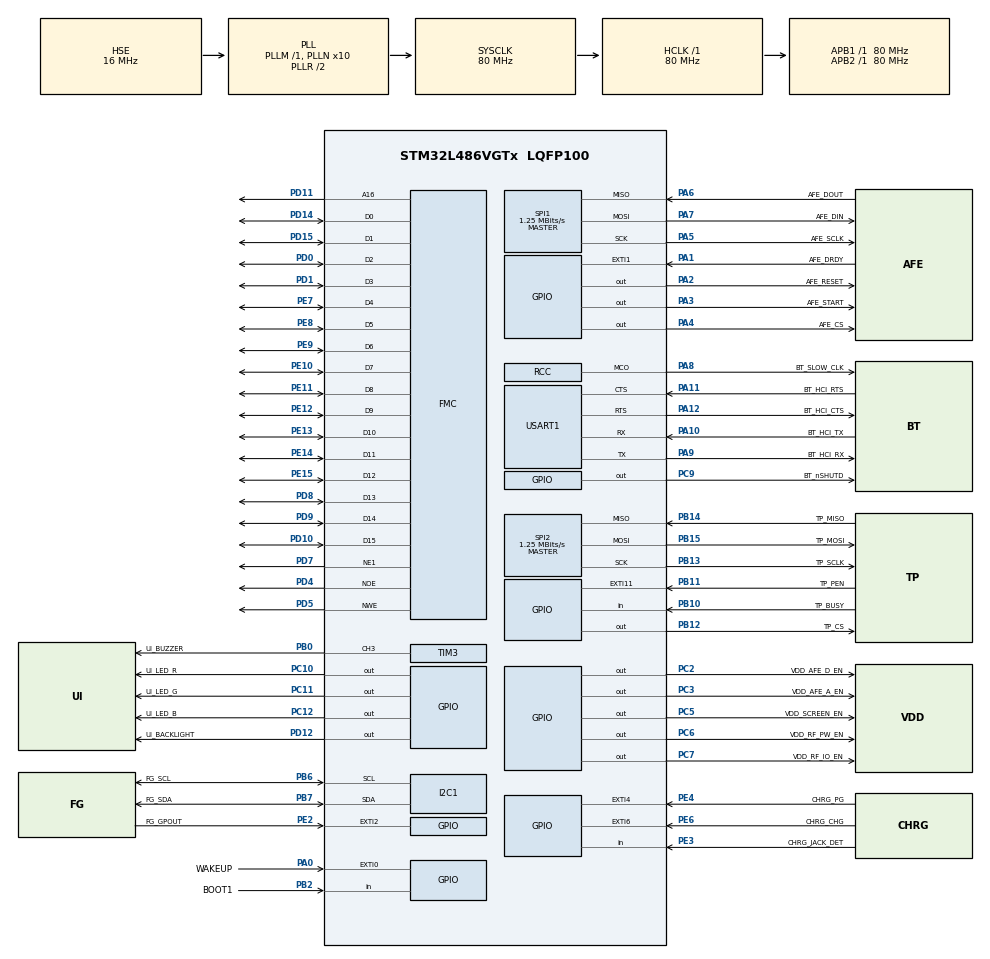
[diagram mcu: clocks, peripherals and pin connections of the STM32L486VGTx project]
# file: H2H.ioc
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Dma.I2C1_RX.1.Direction=DMA_PERIPH_TO_MEMORY
Dma.I2C1_RX.1.Instance=DMA1_Channel7
Dma.I2C1_RX.1.MemDataAlignment=DMA_MDATAALIGN_BYTE
Dma.I2C1_RX.1.MemInc=DMA_MINC_ENABLE
Dma.I2C1_RX.1.Mode=DMA_NORMAL
Dma.I2C1_RX.1.PeriphDataAlignment=DMA_PDATAALIGN_BYTE
Dma.I2C1_RX.1.PeriphInc=DMA_PINC_DISABLE
Dma.I2C1_RX.1.Priority=DMA_PRIORITY_LOW
Dma.I2C1_TX.0.Direction=DMA_MEMORY_TO_PERIPH
Dma.I2C1_TX.0.Instance=DMA1_Channel6
Dma.I2C1_TX.0.MemDataAlignment=DMA_MDATAALIGN_BYTE
Dma.I2C1_TX.0.MemInc=DMA_MINC_ENABLE
Dma.I2C1_TX.0.Mode=DMA_NORMAL
Dma.I2C1_TX.0.PeriphDataAlignment=DMA_PDATAALIGN_BYTE
Dma.I2C1_TX.0.PeriphInc=DMA_PINC_DISABLE
Dma.I2C1_TX.0.Priority=DMA_PRIORITY_LOW
Dma.MEMTOMEM.8.Direction=DMA_MEMORY_TO_MEMORY
Dma.MEMTOMEM.8.Instance=DMA2_Channel1
Dma.MEMTOMEM.8.MemDataAlignment=DMA_MDATAALIGN_BYTE
Dma.MEMTOMEM.8.MemInc=DMA_MINC_DISABLE
Dma.MEMTOMEM.8.Mode=DMA_NORMAL
Dma.MEMTOMEM.8.PeriphDataAlignment=DMA_PDATAALIGN_BYTE
Dma.MEMTOMEM.8.PeriphInc=DMA_PINC_DISABLE
Dma.MEMTOMEM.8.Priority=DMA_PRIORITY_LOW
Dma.Request0=I2C1_TX
Dma.Request1=I2C1_RX
Dma.Request2=SPI1_TX
Dma.Request3=SPI1_RX
Dma.Request4=SPI2_TX
Dma.Request5=SPI2_RX
Dma.Request6=USART1_TX
Dma.Request7=USART1_RX
Dma.Request8=MEMTOMEM
Dma.SPI1_RX.3.Direction=DMA_PERIPH_TO_MEMORY
Dma.SPI1_RX.3.Instance=DMA1_Channel2
Dma.SPI1_RX.3.MemDataAlignment=DMA_MDATAALIGN_BYTE
Dma.SPI1_RX.3.MemInc=DMA_MINC_ENABLE
Dma.SPI1_RX.3.Mode=DMA_NORMAL
Dma.SPI1_RX.3.PeriphDataAlignment=DMA_PDATAALIGN_BYTE
Dma.SPI1_RX.3.PeriphInc=DMA_PINC_DISABLE
Dma.SPI1_RX.3.Priority=DMA_PRIORITY_VERY_HIGH
Dma.SPI1_TX.2.Direction=DMA_MEMORY_TO_PERIPH
Dma.SPI1_TX.2.Instance=DMA1_Channel3
Dma.SPI1_TX.2.MemDataAlignment=DMA_MDATAALIGN_BYTE
Dma.SPI1_TX.2.MemInc=DMA_MINC_ENABLE
Dma.SPI1_TX.2.Mode=DMA_NORMAL
Dma.SPI1_TX.2.PeriphDataAlignment=DMA_PDATAALIGN_BYTE
Dma.SPI1_TX.2.PeriphInc=DMA_PINC_DISABLE
Dma.SPI1_TX.2.Priority=DMA_PRIORITY_VERY_HIGH
Dma.SPI2_RX.5.Direction=DMA_PERIPH_TO_MEMORY
Dma.SPI2_RX.5.Instance=DMA1_Channel4
Dma.SPI2_RX.5.MemDataAlignment=DMA_MDATAALIGN_BYTE
Dma.SPI2_RX.5.MemInc=DMA_MINC_ENABLE
Dma.SPI2_RX.5.Mode=DMA_NORMAL
Dma.SPI2_RX.5.PeriphDataAlignment=DMA_PDATAALIGN_BYTE
Dma.SPI2_RX.5.PeriphInc=DMA_PINC_DISABLE
Dma.SPI2_RX.5.Priority=DMA_PRIORITY_MEDIUM
Dma.SPI2_TX.4.Direction=DMA_MEMORY_TO_PERIPH
Dma.SPI2_TX.4.Instance=DMA1_Channel5
Dma.SPI2_TX.4.MemDataAlignment=DMA_MDATAALIGN_BYTE
Dma.SPI2_TX.4.MemInc=DMA_MINC_ENABLE
Dma.SPI2_TX.4.Mode=DMA_NORMAL
Dma.SPI2_TX.4.PeriphDataAlignment=DMA_PDATAALIGN_BYTE
Dma.SPI2_TX.4.PeriphInc=DMA_PINC_DISABLE
Dma.SPI2_TX.4.Priority=DMA_PRIORITY_MEDIUM
Dma.USART1_RX.7.Direction=DMA_PERIPH_TO_MEMORY
Dma.USART1_RX.7.Instance=DMA2_Channel7
Dma.USART1_RX.7.MemDataAlignment=DMA_MDATAALIGN_BYTE
Dma.USART1_RX.7.MemInc=DMA_MINC_ENABLE
Dma.USART1_RX.7.Mode=DMA_NORMAL
Dma.USART1_RX.7.PeriphDataAlignment=DMA_PDATAALIGN_BYTE
Dma.USART1_RX.7.PeriphInc=DMA_PINC_DISABLE
Dma.USART1_RX.7.Priority=DMA_PRIORITY_HIGH
Dma.USART1_TX.6.Direction=DMA_MEMORY_TO_PERIPH
Dma.USART1_TX.6.Instance=DMA2_Channel6
Dma.USART1_TX.6.MemDataAlignment=DMA_MDATAALIGN_BYTE
Dma.USART1_TX.6.MemInc=DMA_MINC_ENABLE
Dma.USART1_TX.6.Mode=DMA_NORMAL
Dma.USART1_TX.6.PeriphDataAlignment=DMA_PDATAALIGN_BYTE
Dma.USART1_TX.6.PeriphInc=DMA_PINC_DISABLE
Dma.USART1_TX.6.Priority=DMA_PRIORITY_HIGH
FMC.AddressSetupTime1=5
FMC.BusTurnAroundDuration1=5
FMC.DataSetupTime1=5
FREERTOS.Tasks01=defaultTask,0,128,StartDefaultTask,Default
FREERTOS.configCHECK_FOR_STACK_OVERFLOW=2
FREERTOS.configMAX_TASK_NAME_LEN=24
FREERTOS.configMINIMAL_STACK_SIZE=64
FREERTOS.configTOTAL_HEAP_SIZE=64000
FREERTOS.configUSE_COUNTING_SEMAPHORES=1
FREERTOS.configUSE_RECURSIVE_MUTEXES=1
FREERTOS.configUSE_TICKLESS_IDLE=1
I2C1.Analog_Filter=I2C_ANALOGFILTER_DISABLE
I2C1.Speed=50
I2C1.Timing=0x30408EFF
Mcu.Family=STM32L4
Mcu.Name=STM32L486VGTx
Mcu.Package=LQFP100
NVIC.DMA1_Channel2_IRQn=true\:6\:0\:true\:false\:true\:true
NVIC.DMA1_Channel3_IRQn=true\:6\:0\:true\:false\:true\:true
NVIC.DMA1_Channel4_IRQn=true\:8\:0\:true\:false\:true\:true
NVIC.DMA1_Channel5_IRQn=true\:8\:0\:true\:false\:true\:true
NVIC.DMA1_Channel6_IRQn=true\:9\:0\:true\:false\:true\:true
NVIC.DMA1_Channel7_IRQn=true\:9\:0\:true\:false\:true\:true
NVIC.DMA2_Channel6_IRQn=true\:7\:0\:true\:false\:true\:true
NVIC.DMA2_Channel7_IRQn=true\:7\:0\:true\:false\:true\:true
NVIC.EXTI0_IRQn=true\:5\:0\:false\:false\:true\:true
NVIC.EXTI15_10_IRQn=true\:7\:0\:true\:false\:true\:true
NVIC.EXTI1_IRQn=true\:6\:0\:true\:false\:true\:true
NVIC.EXTI2_IRQn=true\:8\:0\:true\:false\:true\:true
NVIC.EXTI4_IRQn=true\:8\:0\:true\:false\:true\:true
NVIC.EXTI9_5_IRQn=true\:5\:0\:true\:false\:true\:true
NVIC.PriorityGroup=NVIC_PRIORITYGROUP_4
NVIC.RTC_Alarm_IRQn=true\:10\:0\:true\:false\:true\:true
NVIC.TIM4_IRQn=true\:10\:0\:true\:false\:true\:true
PA0.GPIO_Label=WAKEUP
PA0.Signal=GPXTI0
PA1.GPIO_Label=AFE_DRDY
PA1.GPIO_ModeDefaultEXTI=GPIO_MODE_IT_FALLING
PA1.Signal=GPXTI1
PA10.GPIO_Label=BT_HCI_TX
PA10.Mode=Asynchronous
PA10.Signal=USART1_RX
PA11.GPIO_Label=BT_HCI_RTS
PA11.Mode=CTS_RTS
PA11.Signal=USART1_CTS
PA12.GPIO_Label=BT_HCI_CTS
PA12.Mode=CTS_RTS
PA12.Signal=USART1_RTS
PA13.Mode=Serial_Wire
PA13.Signal=SYS_JTMS-SWDIO
PA14.Mode=Serial_Wire
PA14.Signal=SYS_JTCK-SWCLK
PA2.GPIO_Label=AFE_RESET
PA2.PinState=GPIO_PIN_RESET
PA2.Signal=GPIO_Output
PA3.GPIO_Label=AFE_START
PA3.Signal=GPIO_Output
PA4.GPIO_Label=AFE_CS
PA4.PinState=GPIO_PIN_RESET
PA4.Signal=GPIO_Output
PA5.GPIO_Label=AFE_SCLK
PA5.Mode=Full_Duplex_Master
PA5.Signal=SPI1_SCK
PA6.GPIO_Label=AFE_DOUT
PA6.Mode=Full_Duplex_Master
PA6.Signal=SPI1_MISO
PA7.GPIO_Label=AFE_DIN
PA7.Mode=Full_Duplex_Master
PA7.Signal=SPI1_MOSI
PA8.GPIO_Label=BT_SLOW_CLK
PA8.Mode=Clock-out
PA8.Signal=RCC_MCO
PA9.GPIO_Label=BT_HCI_RX
PA9.Mode=Asynchronous
PA9.Signal=USART1_TX
PB0.GPIO_Label=UI_BUZZER
PB0.Signal=S_TIM3_CH3
PB10.GPIO_Label=TP_BUSY
PB10.Signal=GPIO_Input
PB11.GPIO_Label=TP_PEN
PB11.GPIO_ModeDefaultEXTI=GPIO_MODE_IT_FALLING
PB11.Signal=GPXTI11
PB12.GPIO_Label=TP_CS
PB12.PinState=GPIO_PIN_RESET
PB12.Signal=GPIO_Output
PB13.GPIO_Label=TP_SCLK
PB13.Mode=Full_Duplex_Master
PB13.Signal=SPI2_SCK
PB14.GPIO_Label=TP_MISO
PB14.Mode=Full_Duplex_Master
PB14.Signal=SPI2_MISO
PB15.GPIO_Label=TP_MOSI
PB15.Mode=Full_Duplex_Master
PB15.Signal=SPI2_MOSI
PB2.GPIO_Label=BOOT1
PB2.Signal=GPIO_Input
PB6.GPIO_Label=FG_SCL
PB6.Mode=I2C
PB6.Signal=I2C1_SCL
PB7.GPIO_Label=FG_SDA
PB7.Mode=I2C
PB7.Signal=I2C1_SDA
PC10.GPIO_Label=UI_LED_R
PC10.Signal=GPIO_Output
PC11.GPIO_Label=UI_LED_G
PC11.Signal=GPIO_Output
PC12.GPIO_Label=UI_LED_B
PC12.Signal=GPIO_Output
PC14/OSC32_IN.GPIO_Label=OSC32_IN
PC14/OSC32_IN.Mode=LSE-External-Oscillator
PC14/OSC32_IN.Signal=RCC_OSC32_IN
PC15/OSC32_OUT.GPIO_Label=OSC32_OUT
PC15/OSC32_OUT.Mode=LSE-External-Oscillator
PC15/OSC32_OUT.Signal=RCC_OSC32_OUT
PC2.GPIO_Label=VDD_AFE_D_EN
PC2.Signal=GPIO_Output
PC3.GPIO_Label=VDD_AFE_A_EN
PC3.Signal=GPIO_Output
PC5.GPIO_Label=VDD_SCREEN_EN
PC5.Signal=GPIO_Output
PC6.GPIO_Label=VDD_RF_PW_EN
PC6.Signal=GPIO_Output
PC7.GPIO_Label=VDD_RF_IO_EN
PC7.Signal=GPIO_Output
PC9.GPIO_Label=BT_nSHUTD
PC9.Signal=GPIO_Output
PD0.Mode=16b-d1
PD0.Signal=FMC_D2
PD1.Mode=16b-d1
PD1.Signal=FMC_D3
PD10.Mode=16b-d1
PD10.Signal=FMC_D15
PD11.Mode=A16_1
PD11.Signal=FMC_A16
PD12.GPIO_Label=UI_BACKLIGHT
PD12.Signal=GPIO_Output
PD14.Mode=16b-d1
PD14.Signal=FMC_D0
PD15.Mode=16b-d1
PD15.Signal=FMC_D1
PD4.Mode=Lcd1
PD4.Signal=FMC_NOE
PD5.Mode=Lcd1
PD5.Signal=FMC_NWE
PD7.Mode=NorPsramChipSelect1_1
PD7.Signal=FMC_NE1
PD8.Mode=16b-d1
PD8.Signal=FMC_D13
PD9.Mode=16b-d1
PD9.Signal=FMC_D14
PE10.Mode=16b-d1
PE10.Signal=FMC_D7
PE11.Mode=16b-d1
PE11.Signal=FMC_D8
PE12.Mode=16b-d1
PE12.Signal=FMC_D9
PE13.Mode=16b-d1
PE13.Signal=FMC_D10
PE14.Mode=16b-d1
PE14.Signal=FMC_D11
PE15.Mode=16b-d1
PE15.Signal=FMC_D12
PE2.GPIO_Label=FG_GPOUT
PE2.GPIO_ModeDefaultEXTI=GPIO_MODE_IT_FALLING
PE2.Signal=GPXTI2
PE3.GPIO_Label=CHRG_JACK_DET
PE3.Signal=GPIO_Input
PE4.GPIO_Label=CHRG_PG
PE4.GPIO_ModeDefaultEXTI=GPIO_MODE_IT_RISING_FALLING
PE4.Signal=GPXTI4
PE6.GPIO_Label=CHRG_CHG
PE6.GPIO_ModeDefaultEXTI=GPIO_MODE_IT_RISING_FALLING
PE6.Signal=GPXTI6
PE7.Mode=16b-d1
PE7.Signal=FMC_D4
PE8.Mode=16b-d1
PE8.Signal=FMC_D5
PE9.Mode=16b-d1
PE9.Signal=FMC_D6
PH0/OSC_IN.GPIO_Label=OSC_IN
PH0/OSC_IN.Mode=HSE-External-Oscillator
PH0/OSC_IN.Signal=RCC_OSC_IN
PH1/OSC_OUT.GPIO_Label=OSC_OUT
PH1/OSC_OUT.Mode=HSE-External-Oscillator
PH1/OSC_OUT.Signal=RCC_OSC_OUT
ProjectManager.HeapSize=0x200
ProjectManager.StackSize=0x400
ProjectManager.TargetToolchain=EWARM
RCC.ADCFreq_Value=64000000
RCC.AHBFreq_Value=80000000
RCC.APB1Freq_Value=80000000
RCC.APB1TimFreq_Value=80000000
RCC.APB2Freq_Value=80000000
RCC.APB2TimFreq_Value=80000000
RCC.CortexFreq_Value=80000000
RCC.EnableCSSLSE=true
RCC.EnbaleCSS=true
RCC.HCLKFreq_Value=80000000
RCC.HSE_VALUE=16000000
RCC.HSI_VALUE=16000000
RCC.MSI_VALUE=4000000
RCC.PLLN=10
RCC.PLLSourceVirtual=RCC_PLLSOURCE_HSE
RCC.RCC_MCO1Source=RCC_MCO1SOURCE_LSE
RCC.RTCClockSelection=RCC_RTCCLKSOURCE_LSE
RCC.SYSCLKFreq_VALUE=80000000
RCC.SYSCLKSource=RCC_SYSCLKSOURCE_PLLCLK
RCC.USBFreq_Value=64000000
RCC.VCOOutputFreq_Value=160000000
RTC.AlarmMask-Alarm\ A=RTC_ALARMMASK_ALL
RTC.Format=RTC_FORMAT_BIN
RTC.Year=16
SH.S_TIM3_CH3.0=TIM3_CH3,PWM Generation3 CH3
SPI1.BaudRatePrescaler=SPI_BAUDRATEPRESCALER_64
SPI1.CLKPhase=SPI_PHASE_2EDGE
SPI1.CalculateBaudRate=1.25 MBits/s
SPI1.DataSize=SPI_DATASIZE_8BIT
SPI1.Mode=SPI_MODE_MASTER
SPI2.BaudRatePrescaler=SPI_BAUDRATEPRESCALER_64
SPI2.CalculateBaudRate=1.25 MBits/s
SPI2.DataSize=SPI_DATASIZE_8BIT
SPI2.Mode=SPI_MODE_MASTER
SPI2.NSSPMode=SPI_NSS_PULSE_DISABLE
TIM3.Channel-PWM\ Generation3\ CH3=TIM_CHANNEL_3
TIM3.ClockDivision=TIM_CLOCKDIVISION_DIV2
TIM3.OCFastMode_PWM-PWM\ Generation3\ CH3=TIM_OCFAST_ENABLE
TIM3.Period=4545
TIM3.Prescaler=75
TIM3.Pulse-PWM\ Generation3\ CH3=2273
TIM4.ClockDivision=TIM_CLOCKDIVISION_DIV2
TIM4.Period=1000
TIM4.Prescaler=40000
USART1.WordLength=UART_WORDLENGTH_8B
VP_FREERTOS_VS_ENABLE.Mode=Enabled
VP_RTC_VS_RTC_Alarm_A_Intern.Mode=Alarm A
VP_TIM3_VS_ClockSourceINT.Mode=Internal
VP_TIM4_VS_ClockSourceINT.Mode=Internal
board=H2H

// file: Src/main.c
/**
  ******************************************************************************
  * File Name          : main.c
  * Description        : Main program body
  ******************************************************************************
  *
  * COPYRIGHT(c) 2016 STMicroelectronics
  *
  * Redistribution and use in source and binary forms, with or without modification,
  * are permitted provided that the following conditions are met:
  *   1. Redistributions of source code must retain the above copyright notice,
  *      this list of conditions and the following disclaimer.
  *   2. Redistributions in binary form must reproduce the above copyright notice,
  *      this list of conditions and the following disclaimer in the documentation
  *      and/or other materials provided with the distribution.
  *   3. Neither the name of STMicroelectronics nor the names of its contributors
  *      may be used to endorse or promote products derived from this software
  *      without specific prior written permission.
  *
  * THIS SOFTWARE IS PROVIDED BY THE COPYRIGHT HOLDERS AND CONTRIBUTORS "AS IS"
  * AND ANY EXPRESS OR IMPLIED WARRANTIES, INCLUDING, BUT NOT LIMITED TO, THE
  * IMPLIED WARRANTIES OF MERCHANTABILITY AND FITNESS FOR A PARTICULAR PURPOSE ARE
  * DISCLAIMED. IN NO EVENT SHALL THE COPYRIGHT HOLDER OR CONTRIBUTORS BE LIABLE
  * FOR ANY DIRECT, INDIRECT, INCIDENTAL, SPECIAL, EXEMPLARY, OR CONSEQUENTIAL
  * DAMAGES (INCLUDING, BUT NOT LIMITED TO, PROCUREMENT OF SUBSTITUTE GOODS OR
  * SERVICES; LOSS OF USE, DATA, OR PROFITS; OR BUSINESS INTERRUPTION) HOWEVER
  * CAUSED AND ON ANY THEORY OF LIABILITY, WHETHER IN CONTRACT, STRICT LIABILITY,
  * OR TORT (INCLUDING NEGLIGENCE OR OTHERWISE) ARISING IN ANY WAY OUT OF THE USE
  * OF THIS SOFTWARE, EVEN IF ADVISED OF THE POSSIBILITY OF SUCH DAMAGE.
  *
  ******************************************************************************
  */
#include "stm32l4xx_hal.h"
#include "cmsis_os.h"
#include "dma.h"
#include "i2c.h"
#include "rtc.h"
#include "spi.h"
#include "tim.h"
#include "usart.h"
#include "gpio.h"
#include "fmc.h"

/* USER CODE BEGIN PV */
/* Private variables ---------------------------------------------------------*/

/* USER CODE END PV */

void SystemClock_Config(void);
void Error_Handler(void);
void MX_FREERTOS_Init(void);

/* USER CODE BEGIN PFP */
/* Private function prototypes -----------------------------------------------*/
void wakeup_check(void);
/* USER CODE END PFP */

int main(void)
{

  /* MCU Configuration----------------------------------------------------------*/

  /* Reset of all peripherals, Initializes the Flash interface and the Systick. */
  HAL_Init();

  /* Configure the system clock */
  SystemClock_Config();

  /* Enable wakeup debug and check */
  HAL_DBGMCU_EnableDBGStandbyMode();
  wakeup_check();

  /* Initialize all configured peripherals */
  MX_GPIO_Init();
  MX_DMA_Init();
  MX_FMC_Init();
  MX_I2C1_Init();
  MX_SPI1_Init();
  MX_SPI2_Init();
  MX_TIM3_Init();
  MX_USART1_UART_Init();
  MX_RTC_Init();
  MX_TIM4_Init();

  /* Call init function for freertos objects (in freertos.c) */
  MX_FREERTOS_Init();

  /* Start scheduler */
  osKernelStart();

  /* We should never get here as control is now taken by the scheduler */

  /* Infinite loop */
  while (1)
  {

  }

}

void wakeup_check(void)
{
  /* Checks if the system is resumed from standby */
  if (__HAL_PWR_GET_FLAG(PWR_FLAG_WU))
  {
    GPIO_InitTypeDef GPIO_InitStruct;

    /* Make falling edge sensitive */
    GPIO_InitStruct.Pin = WAKEUP_Pin;
    GPIO_InitStruct.Mode = GPIO_MODE_IT_FALLING;
    GPIO_InitStruct.Pull = GPIO_NOPULL;
    HAL_GPIO_Init(GPIOA, &GPIO_InitStruct);

    /* Wait */
    HAL_Delay(1000);

    /* If a falling edge has occured
     * the press was not long enough
     * to wake up the device
     */
    if (__HAL_GPIO_EXTI_GET_IT(GPIO_PIN_0) == SET)
    {
      /* Clear interrupt flag */
      __HAL_GPIO_EXTI_CLEAR_IT(GPIO_PIN_0);

      /* Enable wakeup pin and go to sleep */
      HAL_PWR_EnableWakeUpPin(PWR_WAKEUP_PIN1);
      __HAL_PWR_CLEAR_FLAG(PWR_FLAG_WU);
      HAL_PWR_EnterSTANDBYMode();
    }
  }
}

/** System Clock Configuration
*/
void SystemClock_Config(void)
{

  RCC_OscInitTypeDef RCC_OscInitStruct;
  RCC_ClkInitTypeDef RCC_ClkInitStruct;
  RCC_PeriphCLKInitTypeDef PeriphClkInit;

  RCC_OscInitStruct.OscillatorType = RCC_OSCILLATORTYPE_HSE|RCC_OSCILLATORTYPE_LSE;
  RCC_OscInitStruct.HSEState = RCC_HSE_ON;
  RCC_OscInitStruct.LSEState = RCC_LSE_ON;
  RCC_OscInitStruct.PLL.PLLState = RCC_PLL_ON;
  RCC_OscInitStruct.PLL.PLLSource = RCC_PLLSOURCE_HSE;
  RCC_OscInitStruct.PLL.PLLM = 1;
  RCC_OscInitStruct.PLL.PLLN = 10;
  RCC_OscInitStruct.PLL.PLLP = RCC_PLLP_DIV7;
  RCC_OscInitStruct.PLL.PLLQ = RCC_PLLQ_DIV2;
  RCC_OscInitStruct.PLL.PLLR = RCC_PLLR_DIV2;
  if (HAL_RCC_OscConfig(&RCC_OscInitStruct) != HAL_OK)
  {
    Error_Handler();
  }

  RCC_ClkInitStruct.ClockType = RCC_CLOCKTYPE_HCLK|RCC_CLOCKTYPE_SYSCLK
                              |RCC_CLOCKTYPE_PCLK1|RCC_CLOCKTYPE_PCLK2;
  RCC_ClkInitStruct.SYSCLKSource = RCC_SYSCLKSOURCE_PLLCLK;
  RCC_ClkInitStruct.AHBCLKDivider = RCC_SYSCLK_DIV1;
  RCC_ClkInitStruct.APB1CLKDivider = RCC_HCLK_DIV1;
  RCC_ClkInitStruct.APB2CLKDivider = RCC_HCLK_DIV1;
  if (HAL_RCC_ClockConfig(&RCC_ClkInitStruct, FLASH_LATENCY_4) != HAL_OK)
  {
    Error_Handler();
  }

  PeriphClkInit.PeriphClockSelection = RCC_PERIPHCLK_RTC|RCC_PERIPHCLK_USART1
                              |RCC_PERIPHCLK_I2C1;
  PeriphClkInit.Usart1ClockSelection = RCC_USART1CLKSOURCE_PCLK2;
  PeriphClkInit.I2c1ClockSelection = RCC_I2C1CLKSOURCE_PCLK1;
  PeriphClkInit.RTCClockSelection = RCC_RTCCLKSOURCE_LSE;
  if (HAL_RCCEx_PeriphCLKConfig(&PeriphClkInit) != HAL_OK)
  {
    Error_Handler();
  }

  HAL_RCC_MCOConfig(RCC_MCO1, RCC_MCO1SOURCE_LSE, RCC_MCODIV_1);

  HAL_RCC_EnableCSS();

  HAL_RCCEx_EnableLSECSS();

  __HAL_RCC_PWR_CLK_ENABLE();

  if (HAL_PWREx_ControlVoltageScaling(PWR_REGULATOR_VOLTAGE_SCALE1) != HAL_OK)
  {
    Error_Handler();
  }

  HAL_SYSTICK_Config(HAL_RCC_GetHCLKFreq()/1000);

  HAL_SYSTICK_CLKSourceConfig(SYSTICK_CLKSOURCE_HCLK);

  /* SysTick_IRQn interrupt configuration */
  HAL_NVIC_SetPriority(SysTick_IRQn, 15, 0);
}

void Error_Handler(void)
{
  while(1)
  {
  }
}

/************************ (C) COPYRIGHT STMicroelectronics *****END OF FILE****/

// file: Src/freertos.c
/**
  ******************************************************************************
  * File Name          : freertos.c
  * Description        : Code for freertos applications
  ******************************************************************************
  *
  * COPYRIGHT(c) 2016 STMicroelectronics
  *
  * Redistribution and use in source and binary forms, with or without modification,
  * are permitted provided that the following conditions are met:
  *   1. Redistributions of source code must retain the above copyright notice,
  *      this list of conditions and the following disclaimer.
  *   2. Redistributions in binary form must reproduce the above copyright notice,
  *      this list of conditions and the following disclaimer in the documentation
  *      and/or other materials provided with the distribution.
  *   3. Neither the name of STMicroelectronics nor the names of its contributors
  *      may be used to endorse or promote products derived from this software
  *      without specific prior written permission.
  *
  * THIS SOFTWARE IS PROVIDED BY THE COPYRIGHT HOLDERS AND CONTRIBUTORS "AS IS"
  * AND ANY EXPRESS OR IMPLIED WARRANTIES, INCLUDING, BUT NOT LIMITED TO, THE
  * IMPLIED WARRANTIES OF MERCHANTABILITY AND FITNESS FOR A PARTICULAR PURPOSE ARE
  * DISCLAIMED. IN NO EVENT SHALL THE COPYRIGHT HOLDER OR CONTRIBUTORS BE LIABLE
  * FOR ANY DIRECT, INDIRECT, INCIDENTAL, SPECIAL, EXEMPLARY, OR CONSEQUENTIAL
  * DAMAGES (INCLUDING, BUT NOT LIMITED TO, PROCUREMENT OF SUBSTITUTE GOODS OR
  * SERVICES; LOSS OF USE, DATA, OR PROFITS; OR BUSINESS INTERRUPTION) HOWEVER
  * CAUSED AND ON ANY THEORY OF LIABILITY, WHETHER IN CONTRACT, STRICT LIABILITY,
  * OR TORT (INCLUDING NEGLIGENCE OR OTHERWISE) ARISING IN ANY WAY OUT OF THE USE
  * OF THIS SOFTWARE, EVEN IF ADVISED OF THE POSSIBILITY OF SUCH DAMAGE.
  *
  ******************************************************************************
  */

#include "FreeRTOS.h"
#include "task.h"
#include "cmsis_os.h"

/* USER CODE BEGIN Includes */
#include "tasks_ecg.h"
#include "tasks_periph.h"

#include "afe.h"
#include "buzzer.h"
#include "gauge.h"

/* USER CODE END Includes */

osThreadId defaultTaskHandle;

/* USER CODE BEGIN Variables */
/* Hardware */
afe_t afe;
buzzer_t buzzer;
gauge_t gauge;

/* USER CODE END Variables */

void StartDefaultTask(void const * argument);

void MX_FREERTOS_Init(void); /* (MISRA C 2004 rule 8.1) */

/* USER CODE BEGIN FunctionPrototypes */
void system_init(void);
/* USER CODE END FunctionPrototypes */

/* Pre/Post sleep processing prototypes */
void PreSleepProcessing(uint32_t *ulExpectedIdleTime);
void PostSleepProcessing(uint32_t *ulExpectedIdleTime);

/* Hook prototypes */
void vApplicationStackOverflowHook(xTaskHandle xTask, signed char *pcTaskName);

/* USER CODE BEGIN 4 */
void vApplicationStackOverflowHook(xTaskHandle xTask, signed char *pcTaskName)
{
   /* Run time stack overflow checking is performed if
   configCHECK_FOR_STACK_OVERFLOW is defined to 1 or 2. This hook function is
   called if a stack overflow is detected. */
}
/* USER CODE END 4 */

/* USER CODE BEGIN PREPOSTSLEEP */
void PreSleepProcessing(uint32_t *ulExpectedIdleTime)
{
/* place for user code */
}

void PostSleepProcessing(uint32_t *ulExpectedIdleTime)
{
/* place for user code */
}
/* USER CODE END PREPOSTSLEEP */

/* Init FreeRTOS */

void MX_FREERTOS_Init(void) {
  /* USER CODE BEGIN Init */
  /* Initialize system */
  system_init();

  /* Init tasks */
  tasks_ecg_init();
  tasks_periph_init();

  /* Start tasks */
  tasks_ecg_start();
  tasks_periph_start();

  /* USER CODE END Init */

  /* Create the thread(s) */
  /* definition and creation of defaultTask */
  osThreadDef(defaultTask, StartDefaultTask, osPriorityIdle, 0, 128);
  defaultTaskHandle = osThreadCreate(osThread(defaultTask), NULL);

}

/* StartDefaultTask function */
void StartDefaultTask(void const * argument)
{

  for(;;)
  {
    osDelay(1);
  }
}

/* USER CODE BEGIN Application */
void system_init(void)
{
  afe_init(&afe, &hspi1);
  afe_test_signal_on(&afe);

  gauge_init(&gauge, &hi2c1);
}

/* USER CODE END Application */

/************************ (C) COPYRIGHT STMicroelectronics *****END OF FILE****/
